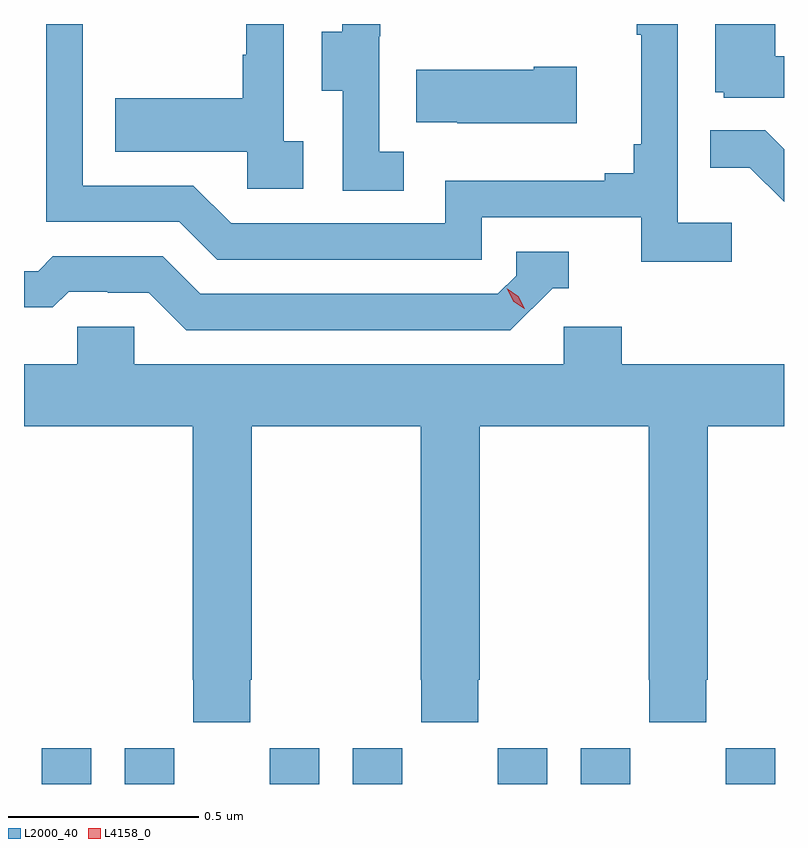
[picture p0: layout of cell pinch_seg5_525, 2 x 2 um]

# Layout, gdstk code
import gdstk
lib = gdstk.Library(unit=1e-6, precision=1e-09)
def R(c, l, rs):  # rectangles x0, y0, x1, y1
    for r in rs: c.add(gdstk.rectangle(r[:2], r[2:], *l))
def P(c, l, *ps):  # polygons
    for p in ps: c.add(gdstk.Polygon(p, *l))
L2000_40 = (2000, 40)
L4158_0 = (4158, 0)

pinch_seg5_525 = lib.new_cell('pinch_seg5_525')
R(pinch_seg5_525, L2000_40, [(923.034,835.839,923.164,835.933), (923.252,835.839,923.382,835.933), (923.634,835.839,923.764,835.933), (923.852,835.839,923.982,835.933), (924.234,835.839,924.364,835.933), (924.452,835.839,924.582,835.933), (924.834,835.839,924.964,835.933)])
P(pinch_seg5_525, L2000_40, [(924.85,837.316),(924.708,837.316),(924.708,837.839),(924.6,837.839),(924.6,837.811),(924.611,837.811),(924.611,837.523),(924.592,837.523),(924.592,837.446),(924.515,837.446),(924.515,837.427),(924.096,837.427),(924.096,837.315),(923.532,837.315),(923.433,837.414),(923.142,837.414),(923.142,837.839),(923.046,837.839),(923.046,837.318),(923.396,837.318),(923.495,837.219),(924.192,837.219),(924.192,837.33),(924.611,837.33),(924.611,837.214),(924.85,837.214)],
  [(923.986,837.503),(923.922,837.503),(923.922,837.807),(923.924,837.807),(923.924,837.839),(923.825,837.839),(923.825,837.819),(923.771,837.819),(923.771,837.664),(923.826,837.664),(923.826,837.4),(923.986,837.4)],
  [(923.722,837.53),(923.67,837.53),(923.67,837.839),(923.572,837.839),(923.572,837.758),(923.562,837.758),(923.562,837.643),(923.227,837.643),(923.227,837.503),(923.574,837.503),(923.574,837.405),(923.722,837.405)],
  [(924.987,837.754),(924.964,837.754),(924.964,837.839),(924.806,837.839),(924.806,837.66),(924.828,837.66),(924.828,837.645),(924.987,837.645)],
  [(924.442,837.726),(924.329,837.726),(924.329,837.718),(924.019,837.718),(924.019,837.581),(924.127,837.581),(924.127,837.578),(924.442,837.578)],
  [(924.987,837.51),(924.937,837.56),(924.793,837.56),(924.793,837.461),(924.897,837.461),(924.987,837.371)],
  [(924.378,837.144),(924.421,837.144),(924.421,837.24),(924.282,837.24),(924.282,837.177),(924.234,837.129),(923.451,837.129),(923.352,837.228),(923.063,837.228),(923.024,837.189),(922.987,837.189),(922.987,837.093),(923.063,837.093),(923.105,837.135),(923.208,837.135),(923.208,837.132),(923.315,837.132),(923.414,837.033),(924.267,837.033)],
  [(923.583,836.113),(923.586,836.113),(923.586,836.78),(924.031,836.78),(924.031,836.113),(924.033,836.113),(924.033,836.001),(924.183,836.001),(924.183,836.113),(924.186,836.113),(924.186,836.78),(924.631,836.78),(924.631,836.113),(924.633,836.113),(924.633,836.001),(924.783,836.001),(924.783,836.113),(924.786,836.113),(924.786,836.78),(924.987,836.78),(924.987,836.944),(924.56,836.944),(924.56,837.042),(924.408,837.042),(924.408,836.944),(923.277,836.944),(923.277,837.042),(923.127,837.042),(923.127,836.944),(922.987,836.944),(922.987,836.78),(923.431,836.78),(923.431,836.113),(923.433,836.113),(923.433,836.001),(923.583,836.001)])
P(pinch_seg5_525, L4158_0, [(924.304,837.09),(924.274,837.11),(924.257,837.143),(924.257,837.143),(924.258,837.143),(924.288,837.123),(924.305,837.09),(924.305,837.09)])

lib.write_gds('pinch_seg5_525.gds')
